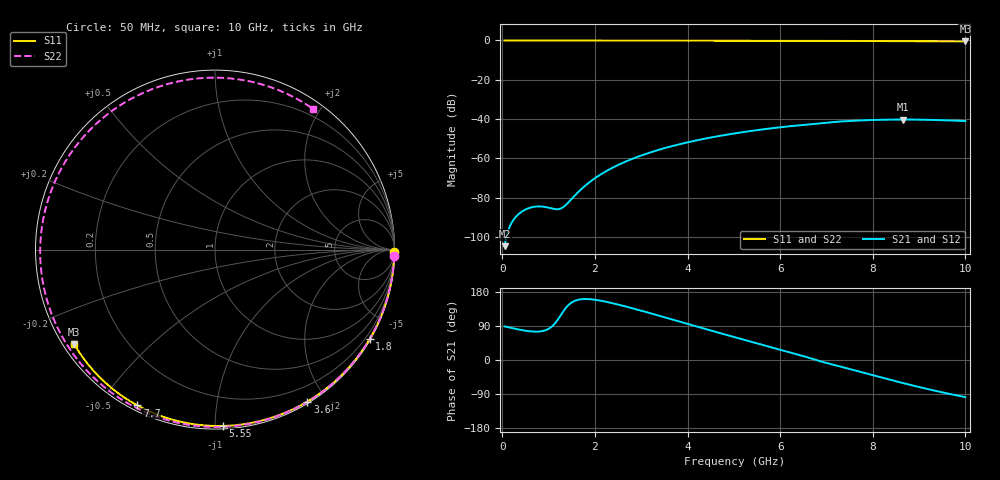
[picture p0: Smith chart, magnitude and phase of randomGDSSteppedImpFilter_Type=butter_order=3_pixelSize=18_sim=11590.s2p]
! freq	dB(S11)	phase(S11)	dB(S12)	phase(S12)
!  dB(S21)	phase(S21)	dB(S22)	phase(S22)
!S-par simulation data
#  GHz  S  DB  R 50
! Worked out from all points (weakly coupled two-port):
!   200 points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, 50 MHz to 10 GHz, reference 50 ohm
!   highest |S21| = -40.25 dB at 8.65 GHz (marker M1); lowest = -104.7 dB at 50 MHz (marker M2)
!   lowest |S11| = -0.5 dB at 10 GHz (marker M3), VSWR 35.28, Z = 1.55 - j15.2 ohm
!   |S11| at or under -10 dB: nowhere
!   |S22| runs from -0.4 to 0.0 dB; largest |S21 - S12| = 0
!   S11 on the Smith chart (normalised r, x): 50 MHz: open; 1.8 GHz: 0.03, -3.72; 3.6 GHz: 0.02, -1.78; 5.55 GHz: 0.02, -1.05; 7.7 GHz: 0.02, -0.62; 10 GHz: 0.03, -0.30
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0.05  -0.00 -0.9  -104.68 88.6  -104.68 88.6  -0.00 -2.1
0.35  -0.01 -5.9  -88.41 80.6  -88.41 80.6  -0.02 -14.3
0.7  -0.02 -11.8  -84.60 74.9  -84.60 74.9  -0.04 -28.4
1.1  -0.02 -18.5  -85.68 91.7  -85.68 91.7  -0.05 -44.2
1.5  -0.03 -25.2  -80.58 151.9  -80.58 151.9  -0.07 -59.3
1.75  -0.04 -29.3  -74.72 160.8  -74.72 160.8  -0.08 -68.4
1.8  -0.04 -30.1  -73.71 160.9  -73.71 160.9  -0.08 -70.2
2.1  -0.04 -35.0  -68.55 157.1  -68.55 157.1  -0.09 -80.7
2.45  -0.05 -40.6  -63.95 147.9  -63.95 147.9  -0.11 -92.5
2.9  -0.06 -47.8  -59.41 133.5  -59.41 133.5  -0.12 -106.9
3.4  -0.07 -55.6  -55.50 116.3  -55.50 116.3  -0.14 -121.9
3.6  -0.08 -58.7  -54.18 109.3  -54.18 109.3  -0.15 -127.7
4.35  -0.10 -70.0  -50.09 83.1  -50.09 83.1  -0.17 -148.5
5.05  -0.12 -80.2  -47.18 59.1  -47.18 59.1  -0.20 -166.9
5.55  -0.14 -87.4  -45.48 42.2  -45.48 42.2  -0.23 -179.8
6.1  -0.17 -95.0  -43.92 23.8  -43.92 23.8  -0.26 166.1
6.7  -0.20 -103.2  -42.58 3.0  -42.58 3.0  -0.29 150.6
7.7  -0.27 -116.5  -40.74 -30.3  -40.74 -30.3  -0.33 123.9
8.35  -0.32 -124.9  -40.29 -51.4  -40.29 -51.4  -0.36 105.6
8.65  -0.34 -128.8  -40.25 -60.8  -40.25 -60.8  -0.37 96.9
9.35  -0.42 -137.8  -40.48 -81.3  -40.48 -81.3  -0.38 75.7
10  -0.49 -146.1  -41.01 -98.0  -41.01 -98.0  -0.40 55.2
